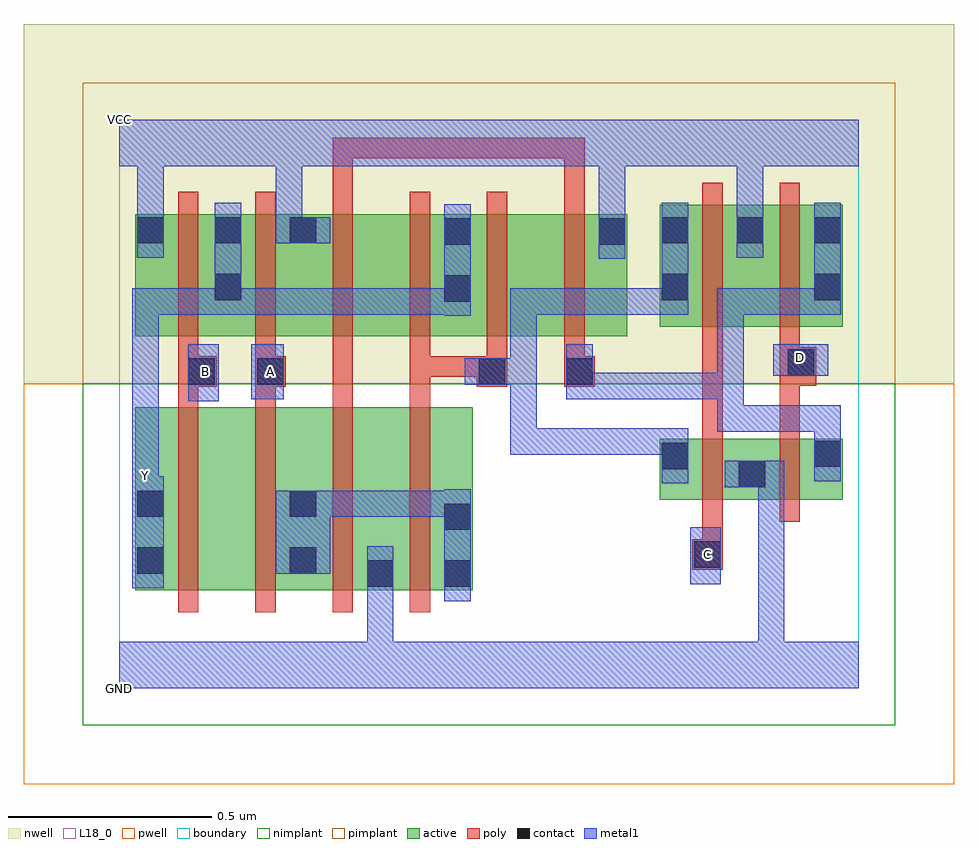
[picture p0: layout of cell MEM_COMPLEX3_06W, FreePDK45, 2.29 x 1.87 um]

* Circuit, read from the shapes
.subckt MEM_COMPLEX3_06W A B C D GND VCC Y
M1 n1 B Y VSUBS nfet w=0.45u l=0.05u
M2 n2 A n1 VSUBS nfet w=0.45u l=0.05u
M3 GND n3 n2 VSUBS nfet w=0.45u l=0.05u
M4 n2 n4 GND VSUBS nfet w=0.45u l=0.05u
M5 GND C n4 VSUBS nfet w=0.15u l=0.05u
M6 n3 D GND VSUBS nfet w=0.15u l=0.05u
M7 Y B VCC n5 pfet w=0.3u l=0.05u
M8 VCC A Y n5 pfet w=0.3u l=0.05u
M9 n6 n3 VCC n5 pfet w=0.3u l=0.05u
M10 Y n4 n6 n5 pfet w=0.3u l=0.05u
M11 n7 n4 Y n5 pfet w=0.3u l=0.05u
M12 VCC n3 n7 n5 pfet w=0.3u l=0.05u
M13 VCC C n4 n5 pfet w=0.3u l=0.05u
M14 n3 D VCC n5 pfet w=0.3u l=0.05u
.ends

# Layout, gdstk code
import gdstk
lib = gdstk.Library(unit=1e-6, precision=1e-09)
def R(c, l, rs):  # rectangles x0, y0, x1, y1
    for r in rs: c.add(gdstk.rectangle(r[:2], r[2:], *l))
def A(c, l, x, y, w, h, nx, ny, dx, dy):  # array of equal rectangles
    R(c, l, [(x+i*dx, y+j*dy, x+i*dx+w, y+j*dy+h) for i in range(nx) for j in range(ny)])
active = (1, 0)
pwell = (2, 0)
nwell = (3, 0)
nimplant = (4, 0)
pimplant = (5, 0)
poly = (9, 0)
contact = (10, 0)
metal1 = (11, 0)
L18_0 = (18, 0)
boundary = (235, 0)

mem_complex3_06w = lib.new_cell('MEM_COMPLEX3_06W')
R(mem_complex3_06w, active, [(0.04,0.242,0.265,0.692), (0.265,0.242,0.49,0.692), (0.415,0.242,0.68,0.692), (0.605,0.242,0.87,0.692), (0.04,0.245,0.115,0.692), (0.415,0.245,0.49,0.692), (0.605,0.245,0.68,0.542), (0.795,0.245,0.87,0.692), (1.33,0.465,1.405,0.615), (1.33,0.465,1.595,0.615), (1.52,0.465,1.78,0.615), (1.705,0.465,1.78,0.615), (1.52,0.49,1.595,0.565), (0.04,0.867,0.305,1.167), (0.04,0.867,0.115,1.167), (0.23,0.867,0.49,1.167), (0.23,0.867,0.305,1.167), (0.415,0.867,0.49,1.167), (0.415,0.867,0.645,1.167), (0.645,0.867,0.87,1.167), (0.795,0.867,1.025,1.167), (1.025,0.867,1.25,1.167), (1.175,0.867,1.25,1.167), (0.795,0.882,0.87,1.162), (1.33,0.89,1.405,1.165), (1.33,0.89,1.59,1.19), (1.515,0.89,1.78,1.19), (1.705,0.89,1.78,1.165), (1.515,1.007,1.59,1.19)])
R(mem_complex3_06w, pwell, [(-0.235,-0.235,2.055,0.75)])
R(mem_complex3_06w, nwell, [(-0.235,0.75,2.055,1.635)])
R(mem_complex3_06w, nimplant, [(-0.09,-0.09,1.91,0.75)])
R(mem_complex3_06w, pimplant, [(-0.09,0.75,1.91,1.49)])
A(mem_complex3_06w, poly, 0.145, 0.187, 0.05, 0.56, 4, 1, 0.19, 0)
A(mem_complex3_06w, poly, 0.145, 0.697, 0.05, 0.095, 3, 1, 0.19, 0)
A(mem_complex3_06w, poly, 0.715, 0.767, 0.05, 0.095, 3, 1, 0.19, 0)
A(mem_complex3_06w, poly, 0.145, 0.812, 0.05, 0.41, 6, 1, 0.19, 0)
R(mem_complex3_06w, poly, [(1.41,0.292,1.485,0.367), (1.435,0.317,1.485,0.46), (1.435,0.41,1.485,0.67), (1.625,0.41,1.675,0.67), (1.435,0.62,1.485,0.815), (1.625,0.62,1.675,0.795), (0.715,0.697,0.765,0.817), (0.145,0.742,0.24,0.817), (0.335,0.742,0.41,0.817), (0.525,0.742,0.575,0.792), (0.525,0.742,0.575,0.862), (0.88,0.742,0.955,0.817), (1.095,0.742,1.17,0.817), (1.625,0.745,1.715,0.84), (1.435,0.765,1.485,0.865), (1.435,0.765,1.485,0.815), (0.145,0.767,0.195,0.862), (0.335,0.767,0.385,0.862), (0.715,0.767,0.765,0.817), (0.715,0.767,0.765,0.817), (0.715,0.767,0.765,0.817), (0.715,0.767,0.93,0.817), (1.625,0.79,1.675,0.865), (1.435,0.815,1.485,1.245), (1.625,0.815,1.675,1.245), (0.525,1.172,0.575,1.355), (1.095,1.172,1.145,1.355), (0.525,1.305,0.575,1.355), (0.525,1.305,0.575,1.355), (0.525,1.305,0.575,1.355), (0.525,1.305,0.797,1.355), (0.747,1.305,0.797,1.355), (0.747,1.305,0.797,1.355), (0.747,1.305,0.797,1.355), (0.747,1.305,1.012,1.355), (0.962,1.305,1.012,1.355), (0.962,1.305,1.012,1.355), (0.962,1.305,1.012,1.355), (0.962,1.305,1.145,1.355), (1.095,1.305,1.145,1.355)])
R(mem_complex3_06w, contact, [(0.61,0.25,0.675,0.315), (0.8,0.25,0.865,0.315), (0.045,0.282,0.11,0.347), (0.42,0.282,0.485,0.347), (1.415,0.297,1.48,0.362), (0.8,0.39,0.865,0.455), (0.045,0.422,0.11,0.487), (0.42,0.422,0.485,0.487), (1.525,0.495,1.59,0.56), (1.335,0.54,1.4,0.605), (1.71,0.545,1.775,0.61), (0.17,0.747,0.235,0.812), (0.34,0.747,0.405,0.812), (0.885,0.747,0.95,0.812), (1.1,0.747,1.165,0.812), (1.645,0.77,1.71,0.835), (0.8,0.952,0.865,1.017), (0.235,0.955,0.3,1.02), (1.335,0.955,1.4,1.02), (1.71,0.955,1.775,1.02), (0.8,1.092,0.865,1.157), (1.18,1.092,1.245,1.157), (0.045,1.095,0.11,1.16), (0.235,1.095,0.3,1.16), (0.42,1.095,0.485,1.16), (1.335,1.095,1.4,1.16), (1.52,1.095,1.585,1.16), (1.71,1.095,1.775,1.16)])
R(mem_complex3_06w, metal1, [(0,0,1.82,0.115), (0.61,0.05,0.675,0.115), (0.61,0.05,0.675,0.115), (0.61,0.05,0.675,0.28), (1.572,0.05,1.637,0.115), (1.572,0.05,1.637,0.115), (1.572,0.05,1.637,0.115), (1.572,0.05,1.637,0.115), (1.572,0.05,1.637,0.115), (1.572,0.05,1.637,0.115), (1.572,0.05,1.637,0.56), (0.61,0.215,0.675,0.35), (0.8,0.215,0.865,0.49), (0.032,0.247,0.11,0.522), (1.405,0.257,1.48,0.397), (0.385,0.282,0.52,0.487), (0.455,0.422,0.52,0.487), (0.455,0.422,0.52,0.487), (0.455,0.422,0.657,0.487), (0.592,0.422,0.657,0.487), (0.592,0.422,0.657,0.487), (0.592,0.422,0.657,0.487), (0.592,0.422,0.865,0.487), (0.032,0.457,0.097,0.522), (0.032,0.457,0.097,0.592), (1.49,0.495,1.637,0.56), (1.335,0.505,1.4,0.64), (1.71,0.51,1.775,0.645), (0.032,0.527,0.097,0.985), (0.962,0.575,1.027,0.64), (0.962,0.575,1.262,0.64), (0.962,0.575,1.027,0.812), (1.197,0.575,1.262,0.64), (1.197,0.575,1.262,0.64), (1.197,0.575,1.262,0.64), (1.197,0.575,1.4,0.64), (1.71,0.58,1.775,0.645), (1.71,0.58,1.775,0.697), (1.472,0.632,1.537,0.697), (1.472,0.632,1.775,0.697), (1.472,0.632,1.537,0.777), (0.17,0.707,0.245,0.847), (0.325,0.712,0.405,0.847), (1.1,0.712,1.165,0.777), (1.1,0.712,1.165,0.777), (1.1,0.712,1.165,0.847), (1.1,0.712,1.4,0.777), (1.335,0.712,1.4,0.777), (1.335,0.712,1.5,0.777), (1.435,0.712,1.5,0.777), (1.435,0.712,1.537,0.777), (1.472,0.712,1.537,0.777), (1.472,0.712,1.537,0.985), (0.85,0.747,0.985,0.812), (0.92,0.747,1.027,0.812), (0.962,0.747,1.027,0.812), (0.962,0.747,1.027,0.985), (1.61,0.77,1.745,0.847), (0.8,0.917,0.865,1.192), (0.032,0.92,0.097,0.985), (0.032,0.92,0.097,0.985), (0.032,0.92,0.097,0.985), (0.032,0.92,0.3,0.985), (0.235,0.92,0.3,0.985), (0.235,0.92,0.3,0.985), (0.235,0.92,0.3,1.195), (0.235,0.92,0.52,0.985), (0.455,0.92,0.52,0.985), (0.455,0.92,0.52,0.985), (0.455,0.92,0.52,0.985), (0.455,0.92,0.657,0.985), (0.592,0.92,0.657,0.985), (0.592,0.92,0.657,0.985), (0.592,0.92,0.657,0.985), (0.592,0.92,0.865,0.985), (0.962,0.92,1.027,0.985), (0.962,0.92,1.165,0.985), (1.1,0.92,1.165,0.985), (1.1,0.92,1.165,0.985), (1.1,0.92,1.165,0.985), (1.1,0.92,1.4,0.985), (1.335,0.92,1.4,1.195), (1.472,0.92,1.537,0.985), (1.472,0.92,1.775,0.985), (1.71,0.92,1.775,0.985), (1.71,0.92,1.775,0.985), (1.71,0.92,1.775,1.195), (1.18,1.057,1.245,1.192), (0.045,1.06,0.11,1.195), (1.52,1.06,1.585,1.195), (0.385,1.095,0.52,1.16), (0.385,1.095,0.45,1.35), (1.18,1.127,1.245,1.192), (1.18,1.127,1.245,1.192), (1.18,1.127,1.245,1.35), (0.045,1.13,0.11,1.195), (0.045,1.13,0.11,1.195), (0.045,1.13,0.11,1.35), (1.52,1.13,1.585,1.35), (0,1.285,1.82,1.4), (0.385,1.285,0.45,1.35), (0.385,1.285,0.45,1.35), (1.52,1.285,1.585,1.35), (1.52,1.285,1.585,1.35)])
R(mem_complex3_06w, L18_0, [(0,0,1.82,0.115), (0.61,0.05,0.675,0.115), (0.61,0.05,0.675,0.115), (0.61,0.05,0.675,0.28), (1.572,0.05,1.637,0.115), (1.572,0.05,1.637,0.115), (1.572,0.05,1.637,0.115), (1.572,0.05,1.637,0.115), (1.572,0.05,1.637,0.115), (1.572,0.05,1.637,0.115), (1.572,0.05,1.637,0.56), (0.61,0.215,0.675,0.35), (0.032,0.247,0.11,0.522), (1.405,0.257,1.48,0.397), (1.415,0.297,1.48,0.362), (0.032,0.457,0.097,0.592), (0.032,0.457,0.097,0.522), (0.032,0.492,0.097,0.557), (1.49,0.495,1.637,0.56), (0.032,0.527,0.097,0.985), (0.17,0.707,0.245,0.847), (0.325,0.712,0.405,0.847), (0.18,0.747,0.245,0.812), (0.34,0.747,0.405,0.812), (1.61,0.77,1.745,0.847), (1.645,0.782,1.71,0.847), (0.8,0.917,0.865,1.192), (0.032,0.92,0.097,0.985), (0.032,0.92,0.097,0.985), (0.032,0.92,0.097,0.985), (0.032,0.92,0.3,0.985), (0.235,0.92,0.3,0.985), (0.235,0.92,0.3,0.985), (0.235,0.92,0.3,1.195), (0.235,0.92,0.52,0.985), (0.455,0.92,0.52,0.985), (0.455,0.92,0.52,0.985), (0.455,0.92,0.52,0.985), (0.455,0.92,0.657,0.985), (0.592,0.92,0.657,0.985), (0.592,0.92,0.657,0.985), (0.592,0.92,0.657,0.985), (0.592,0.92,0.865,0.985), (1.18,1.057,1.245,1.192), (0.045,1.06,0.11,1.195), (1.52,1.06,1.585,1.195), (0.385,1.095,0.52,1.16), (0.385,1.095,0.45,1.35), (1.18,1.127,1.245,1.192), (1.18,1.127,1.245,1.192), (1.18,1.127,1.245,1.35), (0.045,1.13,0.11,1.195), (0.045,1.13,0.11,1.195), (0.045,1.13,0.11,1.35), (1.52,1.13,1.585,1.35), (0,1.285,1.82,1.4), (0.385,1.285,0.45,1.35), (0.385,1.285,0.45,1.35), (1.52,1.285,1.585,1.35), (1.52,1.285,1.585,1.35)])
R(mem_complex3_06w, boundary, [(0,0,1.82,1.4)])
mem_complex3_06w.add(gdstk.Label('A', (0.372,0.78), layer=11, texttype=0))
mem_complex3_06w.add(gdstk.Label('B', (0.212,0.78), layer=11, texttype=0))
mem_complex3_06w.add(gdstk.Label('C', (1.447,0.33), layer=11, texttype=0))
mem_complex3_06w.add(gdstk.Label('D', (1.677,0.815), layer=11, texttype=0))
mem_complex3_06w.add(gdstk.Label('Y', (0.065,0.525), layer=11, texttype=0))
mem_complex3_06w.add(gdstk.Label('VCC', (0,1.4), layer=11, texttype=0))
mem_complex3_06w.add(gdstk.Label('GND', (0,0), layer=11, texttype=0))

lib.write_gds('MEM_COMPLEX3_06W.gds')
